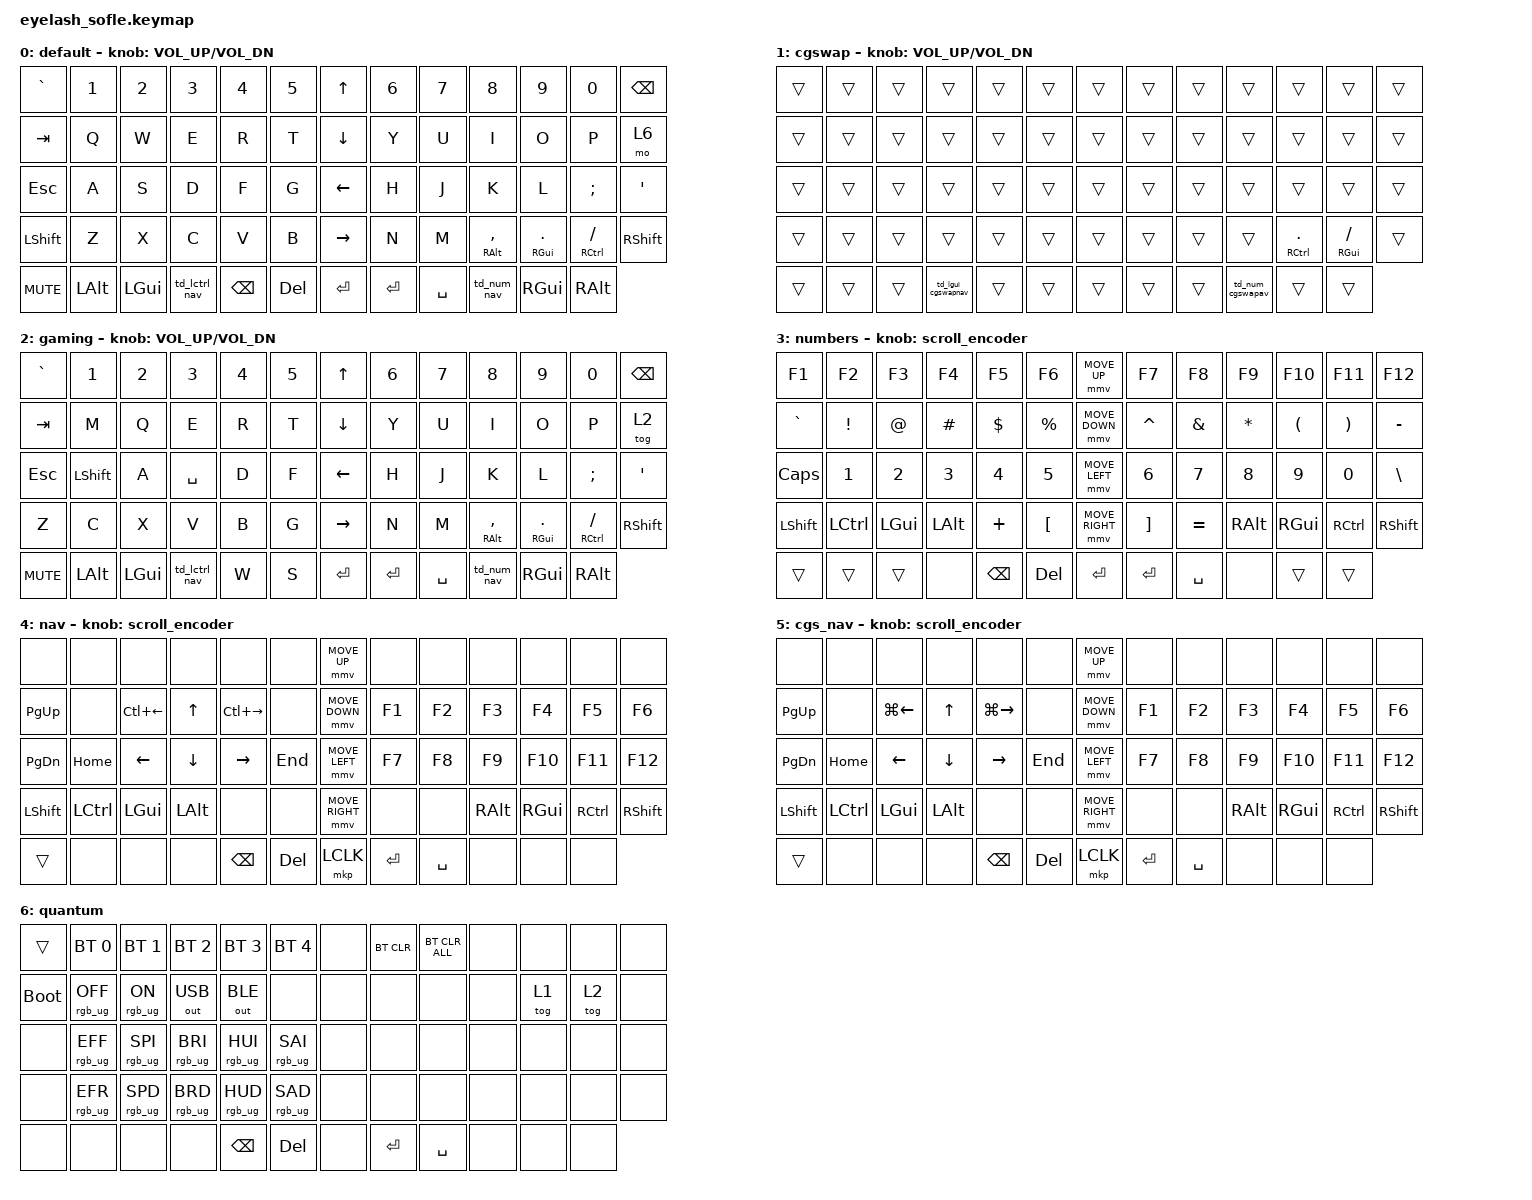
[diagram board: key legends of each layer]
#define ZMK_POINTING_DEFAULT_MOVE_VAL 1200  // 600
#define ZMK_POINTING_DEFAULT_SCRL_VAL 25   // 10

#include <input/processors.dtsi>
#include <zephyr/dt-bindings/input/input-event-codes.h>
#include <behaviors.dtsi>
#include <dt-bindings/zmk/bt.h>
#include <dt-bindings/zmk/ext_power.h>
#include <dt-bindings/zmk/keys.h>
#include <dt-bindings/zmk/pointing.h>
#include <dt-bindings/zmk/rgb.h>
#include <dt-bindings/zmk/outputs.h>

&mmv_input_listener { input-processors = <&zip_xy_scaler 2 1>; };

&msc_input_listener { input-processors = <&zip_scroll_scaler 2 1>; };

&msc {
    acceleration-exponent = <1>;      // 0
    time-to-max-speed-ms = <100>;       // 300
    delay-ms = <0>;                   // 0
};

&mmv {
    time-to-max-speed-ms = <500>;
    acceleration-exponent = <1>;
    trigger-period-ms = <16>;
};

&mt {
    flavor = "tap-preferred";
    tapping-term-ms = <250>;
    quick-tap-ms = <200>;
};

/ {

    scroll_encoder: scroll_encoder {
        compatible = "zmk,behavior-sensor-rotate";
        #sensor-binding-cells = <0>;
        bindings = <&msc SCRL_DOWN>, <&msc SCRL_UP>;
        tap-ms = <100>;
    };

    behaviors {
        td_lctrl_nav: tap_dance_0 {
            compatible = "zmk,behavior-tap-dance";
            #binding-cells = <0>;
            tapping-term-ms = <250>;
            bindings = <&kp LCTRL>, <&mo 4>;
        };

        td_num_nav: tap_dance_1 {
            compatible = "zmk,behavior-tap-dance";
            #binding-cells = <0>;
            tapping-term-ms = <250>;
            bindings = <&mo 3>, <&mo 4>;
        };

        td_lgui_cgswapnav: tap_dance_2 {
            compatible = "zmk,behavior-tap-dance";
            #binding-cells = <0>;
            tapping-term-ms = <250>;
            bindings = <&kp LGUI>, <&mo 5>;
        };

        td_num_cgswapav: tap_dance_3 {
            compatible = "zmk,behavior-tap-dance";
            #binding-cells = <0>;
            tapping-term-ms = <250>;
            bindings = <&mo 3>, <&mo 5>;
        };
    };

    keymap {
        compatible = "zmk,keymap";

        layer0 {
            bindings = <
&kp GRAVE   &kp N1     &kp N2        &kp N3        &kp N4         &kp N5        &kp UP_ARROW      &kp N6     &kp N7     &kp N8         &kp N9         &kp N0         &kp BACKSPACE
&kp TAB     &kp Q      &kp W         &kp E         &kp R          &kp T         &kp DOWN_ARROW    &kp Y      &kp U      &kp I          &kp O          &kp P          &mo 6
&kp ESC     &kp A      &kp S         &kp D         &kp F          &kp G         &kp LEFT_ARROW    &kp H      &kp J      &kp K          &kp L          &kp SEMI       &kp APOS
&kp LSHFT   &kp Z      &kp X         &kp C         &kp V          &kp B         &kp RIGHT_ARROW   &kp N      &kp M      &mt RALT COMMA &mt RGUI DOT   &mt RCTRL FSLH &kp RIGHT_SHIFT
&kp C_MUTE  &kp LALT   &kp LGUI      &td_lctrl_nav &kp BACKSPACE  &kp DELETE    &kp ENTER         &kp ENTER  &kp SPACE  &td_num_nav    &kp RGUI       &kp RALT
            >;

            sensor-bindings = <&inc_dec_kp C_VOLUME_UP C_VOL_DN>;
            display-name = "default";
        };

        layer1 {
            bindings = <
&trans      &trans     &trans        &trans              &trans   &trans       &trans            &trans     &trans     &trans           &trans         &trans         &trans
&trans      &trans     &trans        &trans              &trans   &trans       &trans            &trans     &trans     &trans           &trans         &trans         &trans
&trans      &trans     &trans        &trans              &trans   &trans       &trans            &trans     &trans     &trans           &trans         &trans         &trans
&trans      &trans     &trans        &trans              &trans   &trans       &trans            &trans     &trans     &trans           &mt RCTRL DOT  &mt RGUI FSLH  &trans
&trans      &trans     &trans        &td_lgui_cgswapnav  &trans   &trans       &trans            &trans     &trans     &td_num_cgswapav &trans         &trans
            >;

            sensor-bindings = <&inc_dec_kp C_VOLUME_UP C_VOL_DN>;
            display-name = "cgswap";
        };

        layer2 {
            bindings = <
&kp GRAVE   &kp N1     &kp N2    &kp N3        &kp N4  &kp N5      &kp UP_ARROW        &kp N6     &kp N7     &kp N8         &kp N9         &kp N0         &kp BACKSPACE
&kp TAB     &kp M      &kp Q     &kp E         &kp R   &kp T       &kp DOWN_ARROW      &kp Y      &kp U      &kp I          &kp O          &kp P          &tog 2
&kp ESC     &kp LSHFT  &kp A     &kp SPACE     &kp D   &kp F       &kp LEFT_ARROW      &kp H      &kp J      &kp K          &kp L          &kp SEMI       &kp APOS
&kp Z       &kp C      &kp X     &kp V         &kp B   &kp G       &kp RIGHT_ARROW     &kp N      &kp M      &mt RALT COMMA &mt RGUI DOT   &mt RCTRL FSLH &kp RIGHT_SHIFT
&kp C_MUTE  &kp LALT   &kp LGUI  &td_lctrl_nav &kp W   &kp S       &kp ENTER           &kp ENTER  &kp SPACE  &td_num_nav    &kp RGUI       &kp RALT
            >;

            sensor-bindings = <&inc_dec_kp C_VOLUME_UP C_VOL_DN>;
            display-name = "gaming";
        };

        layer3 {
            bindings = <
&kp F1      &kp F2           &kp F3          &kp F4        &kp F5           &kp F6             &mmv MOVE_UP       &kp F7              &kp F8           &kp F9          &kp F10    &kp F11    &kp F12
&kp GRAVE   &kp EXCL         &kp AT_SIGN     &kp HASH      &kp DOLLAR       &kp PERCENT        &mmv MOVE_DOWN     &kp CARET           &kp AMPERSAND    &kp ASTERISK    &kp LPAR   &kp RPAR   &kp MINUS
&kp CAPS    &kp N1           &kp N2          &kp N3        &kp N4           &kp N5             &mmv MOVE_LEFT     &kp N6              &kp N7           &kp N8          &kp N9     &kp N0     &kp BACKSLASH
&kp LSHIFT  &kp LCTRL        &kp LGUI        &kp LALT      &kp PLUS         &kp LEFT_BRACKET   &mmv MOVE_RIGHT    &kp RIGHT_BRACKET   &kp EQUAL        &kp RALT        &kp RGUI   &kp RCTRL  &kp RSHIFT
&trans      &trans           &trans          &none         &kp BACKSPACE    &kp DELETE         &kp ENTER          &kp ENTER           &kp SPACE        &none           &trans     &trans
            >;

            display-name = "numbers";
            sensor-bindings = <&scroll_encoder>;
        };

        layer4 {
            bindings = <
&none      &none     &none               &none           &none                &none         &mmv MOVE_UP      &none      &none      &none    &none     &none      &none
&kp PG_UP  &none     &kp LC(LEFT_ARROW)  &kp UP_ARROW    &kp LC(RIGHT_ARROW)  &none         &mmv MOVE_DOWN    &kp F1     &kp F2     &kp F3   &kp F4    &kp F5     &kp F6
&kp PG_DN  &kp HOME  &kp LEFT_ARROW      &kp DOWN_ARROW  &kp RIGHT_ARROW      &kp END       &mmv MOVE_LEFT    &kp F7     &kp F8     &kp F9   &kp F10   &kp F11    &kp F12
&kp LSHIFT &kp LCTRL &kp LGUI            &kp LALT        &none                &none         &mmv MOVE_RIGHT   &none      &none      &kp RALT &kp RGUI  &kp RCTRL  &kp RSHIFT
&trans     &none     &none               &none           &kp BACKSPACE        &kp DELETE    &mkp LCLK         &kp ENTER  &kp SPACE  &none    &none     &none
            >;

            display-name = "nav";
            sensor-bindings = <&scroll_encoder>;
        };

        layer5 {
            bindings = <
&none      &none     &none               &none           &none                &none         &mmv MOVE_UP      &none      &none      &none    &none     &none      &none
&kp PG_UP  &none     &kp LG(LEFT_ARROW)  &kp UP_ARROW    &kp LG(RIGHT_ARROW)  &none         &mmv MOVE_DOWN    &kp F1     &kp F2     &kp F3   &kp F4    &kp F5     &kp F6
&kp PG_DN  &kp HOME  &kp LEFT_ARROW      &kp DOWN_ARROW  &kp RIGHT_ARROW      &kp END       &mmv MOVE_LEFT    &kp F7     &kp F8     &kp F9   &kp F10   &kp F11    &kp F12
&kp LSHIFT &kp LCTRL &kp LGUI            &kp LALT        &none                &none         &mmv MOVE_RIGHT   &none      &none      &kp RALT &kp RGUI  &kp RCTRL  &kp RSHIFT
&trans     &none     &none               &none           &kp BACKSPACE        &kp DELETE    &mkp LCLK         &kp ENTER  &kp SPACE  &none    &none     &none
            >;

            display-name = "cgs_nav";
            sensor-bindings = <&scroll_encoder>;
        };

        layer6 {
            bindings = <
&trans       &bt BT_SEL 0    &bt BT_SEL 1     &bt BT_SEL 2     &bt BT_SEL 3      &bt BT_SEL 4     &none       &bt BT_CLR  &bt BT_CLR_ALL &none  &none  &none   &none
&bootloader  &rgb_ug RGB_OFF &rgb_ug RGB_ON   &out OUT_USB     &out OUT_BLE      &none            &none       &none       &none          &none  &tog 1 &tog 2  &none
&none        &rgb_ug RGB_EFF &rgb_ug RGB_SPI  &rgb_ug RGB_BRI  &rgb_ug RGB_HUI   &rgb_ug RGB_SAI  &none       &none       &none          &none  &none  &none   &none
&none        &rgb_ug RGB_EFR &rgb_ug RGB_SPD  &rgb_ug RGB_BRD  &rgb_ug RGB_HUD   &rgb_ug RGB_SAD  &none       &none       &none          &none  &none  &none   &none
&none        &none          &none            &none             &kp BACKSPACE     &kp DELETE       &none       &kp ENTER   &kp SPACE      &none  &none  &none
            >;

            display-name = "quantum";
        };
    };
};
